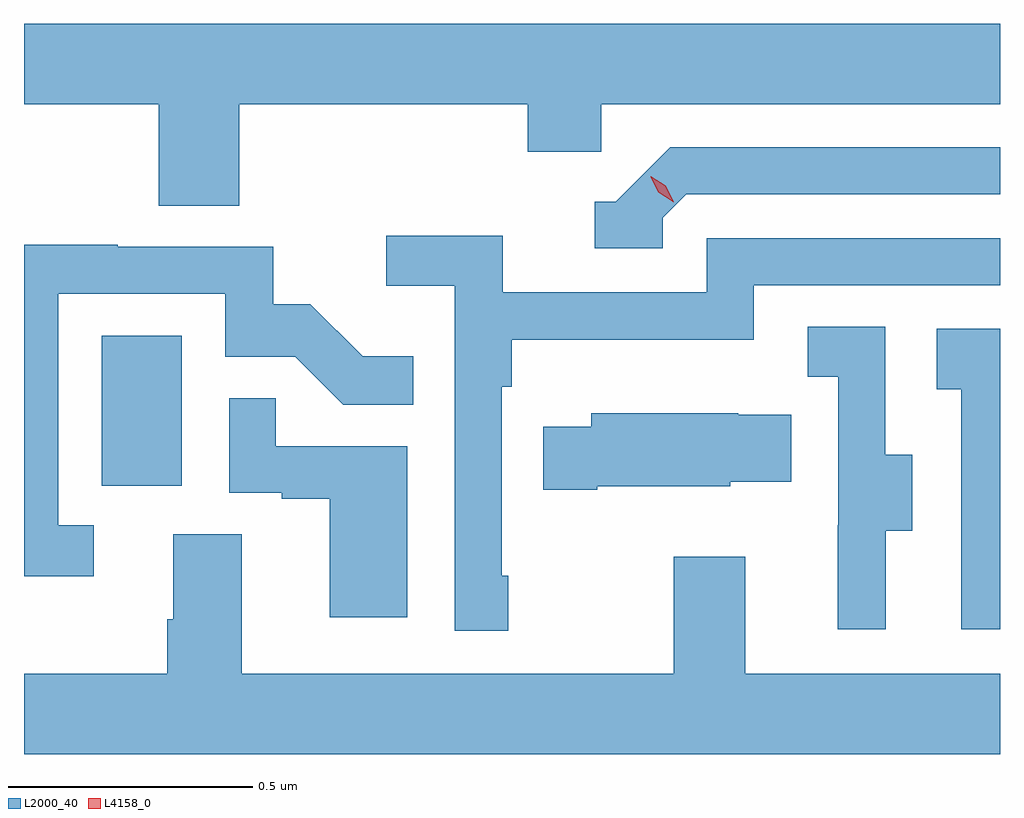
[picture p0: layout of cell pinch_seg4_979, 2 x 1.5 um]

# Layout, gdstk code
import gdstk
lib = gdstk.Library(unit=1e-6, precision=1e-09)
def R(c, l, rs):  # rectangles x0, y0, x1, y1
    for r in rs: c.add(gdstk.rectangle(r[:2], r[2:], *l))
def P(c, l, *ps):  # polygons
    for p in ps: c.add(gdstk.Polygon(p, *l))
L2000_40 = (2000, 40)
L4158_0 = (4158, 0)

pinch_seg4_979 = lib.new_cell('pinch_seg4_979')
R(pinch_seg4_979, L2000_40, [(792.47,769.398,792.634,769.705)])
P(pinch_seg4_979, L2000_40, [(792.752,770.18),(793.343,770.18),(793.343,770.082),(793.494,770.082),(793.494,770.18),(794.311,770.18),(794.311,770.344),(792.311,770.344),(792.311,770.18),(792.587,770.18),(792.587,769.972),(792.752,769.972)],
  [(793.62,769.947),(793.668,769.995),(794.311,769.995),(794.311,770.091),(793.635,770.091),(793.524,769.98),(793.481,769.98),(793.481,769.884),(793.62,769.884)],
  [(793.303,769.213),(793.29,769.213),(793.29,769.601),(793.31,769.601),(793.31,769.697),(793.806,769.697),(793.806,769.809),(794.311,769.809),(794.311,769.905),(793.71,769.905),(793.71,769.794),(793.292,769.794),(793.292,769.91),(793.053,769.91),(793.053,769.808),(793.194,769.808),(793.194,769.101),(793.303,769.101)],
  [(792.454,769.317),(792.381,769.317),(792.381,769.791),(792.723,769.791),(792.723,769.662),(792.867,769.662),(792.965,769.564),(793.109,769.564),(793.109,769.663),(793.005,769.663),(792.898,769.77),(792.822,769.77),(792.822,769.887),(792.503,769.887),(792.503,769.892),(792.311,769.892),(792.311,769.212),(792.454,769.212)],
  [(794.077,769.306),(794.131,769.306),(794.131,769.461),(794.076,769.461),(794.076,769.724),(793.917,769.724),(793.917,769.621),(793.98,769.621),(793.98,769.317),(793.979,769.317),(793.979,769.104),(794.077,769.104)],
  [(794.311,769.719),(794.181,769.719),(794.181,769.595),(794.232,769.595),(794.232,769.104),(794.311,769.104)],
  [(793.096,769.479),(792.827,769.479),(792.827,769.577),(792.732,769.577),(792.732,769.383),(792.839,769.383),(792.839,769.371),(792.938,769.371),(792.938,769.128),(793.096,769.128)],
  [(793.486,769.397),(793.758,769.397),(793.758,769.406),(793.883,769.406),(793.883,769.543),(793.775,769.543),(793.775,769.546),(793.473,769.546),(793.473,769.519),(793.375,769.519),(793.375,769.39),(793.486,769.39)],
  [(794.311,769.012),(793.789,769.012),(793.789,769.252),(793.642,769.252),(793.642,769.012),(792.757,769.012),(792.757,769.298),(792.617,769.298),(792.617,769.124),(792.605,769.124),(792.605,769.012),(792.311,769.012),(792.311,768.848),(794.311,768.848)])
P(pinch_seg4_979, L4158_0, [(793.642,769.979),(793.611,769.999),(793.595,770.031),(793.595,770.032),(793.595,770.032),(793.626,770.012),(793.642,769.98),(793.642,769.979)])

lib.write_gds('pinch_seg4_979.gds')
